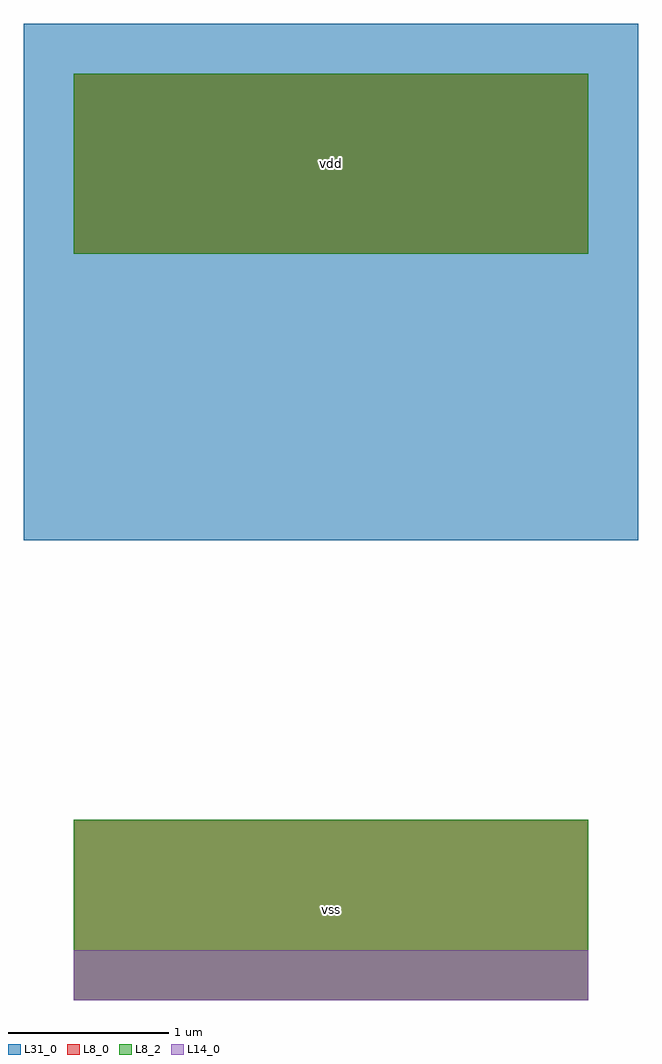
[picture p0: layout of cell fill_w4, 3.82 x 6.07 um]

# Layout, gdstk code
import gdstk
lib = gdstk.Library(unit=1e-6, precision=1e-09)
def R(c, l, rs):  # rectangles x0, y0, x1, y1
    for r in rs: c.add(gdstk.rectangle(r[:2], r[2:], *l))
L8_0 = (8, 0)
L8_2 = (8, 2)
L14_0 = (14, 0)
L31_0 = (31, 0)

fill_w4 = lib.new_cell('fill_w4')
R(fill_w4, L8_0, [(0,0,3.2,1.12), (0,4.64,3.2,5.76)])
R(fill_w4, L8_2, [(0,0,3.2,1.12), (0,4.64,3.2,5.76)])
R(fill_w4, L14_0, [(0,0,3.2,0.31)])
R(fill_w4, L31_0, [(-0.31,2.86,3.51,6.07)])
fill_w4.add(gdstk.Label('vdd', (1.6,5.2), layer=8, texttype=2))
fill_w4.add(gdstk.Label('vss', (1.6,0.56), layer=8, texttype=2))

lib.write_gds('fill_w4.gds')
